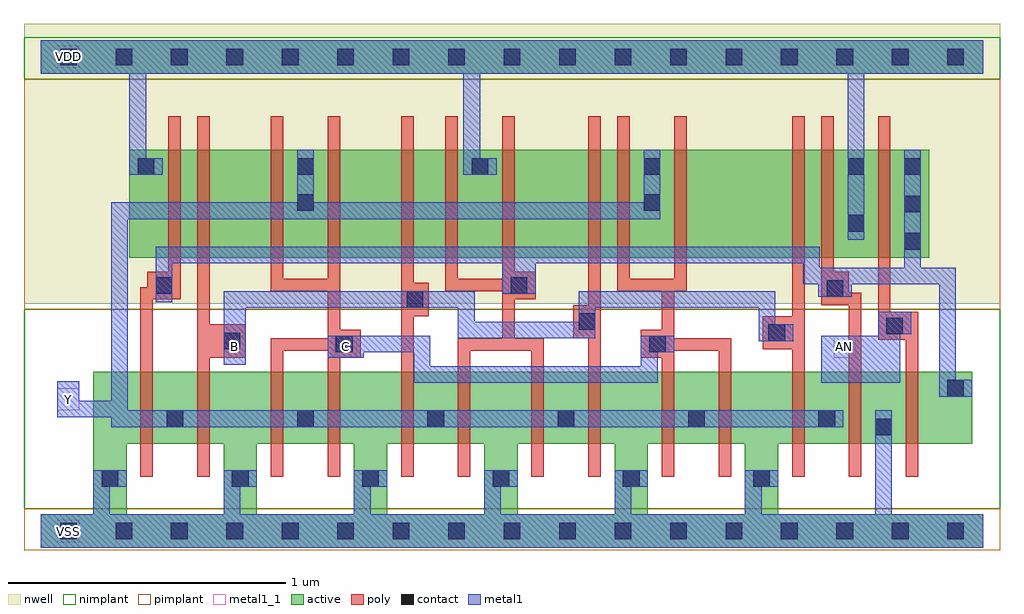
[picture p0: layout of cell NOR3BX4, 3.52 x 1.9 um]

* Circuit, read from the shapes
.subckt NOR3BX4 AN B C VDD VSS Y
M1 Y n1 VSS VSS nfet w=0.26u l=0.045u m=4
M2 VSS B Y VSS nfet w=0.26u l=0.045u m=4
M3 Y C VSS VSS nfet w=0.26u l=0.045u m=4
M4 n1 AN VSS VSS nfet w=0.26u l=0.045u
M5 n2 n1 VDD VDD pfet w=0.39u l=0.045u
M6 n3 B n2 VDD pfet w=0.39u l=0.045u
M7 Y C n3 VDD pfet w=0.39u l=0.045u
M8 n4 C Y VDD pfet w=0.39u l=0.045u
M9 n5 B n4 VDD pfet w=0.39u l=0.045u
M10 VDD n1 n5 VDD pfet w=0.39u l=0.045u
M11 n6 n1 VDD VDD pfet w=0.39u l=0.045u
M12 n7 B n6 VDD pfet w=0.39u l=0.045u
M13 Y C n7 VDD pfet w=0.39u l=0.045u
M14 n8 C Y VDD pfet w=0.39u l=0.045u
M15 n9 B n8 VDD pfet w=0.39u l=0.045u
M16 VDD n1 n9 VDD pfet w=0.39u l=0.045u
M17 n1 AN VDD VDD pfet w=0.39u l=0.045u
.ends

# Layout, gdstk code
import gdstk
lib = gdstk.Library(unit=1e-6, precision=5e-10)
def R(c, l, rs):  # rectangles x0, y0, x1, y1
    for r in rs: c.add(gdstk.rectangle(r[:2], r[2:], *l))
def A(c, l, x, y, w, h, nx, ny, dx, dy):  # array of equal rectangles
    R(c, l, [(x+i*dx, y+j*dy, x+i*dx+w, y+j*dy+h) for i in range(nx) for j in range(ny)])
def P(c, l, *ps):  # polygons
    for p in ps: c.add(gdstk.Polygon(p, *l))
active = (1, 0)
nwell = (2, 0)
poly = (3, 0)
nimplant = (4, 0)
pimplant = (5, 0)
contact = (6, 0)
metal1 = (7, 0)
metal1_1 = (7, 1)

nor3bx4 = lib.new_cell('NOR3BX4')
R(nor3bx4, active, [(0.32,0.985,3.205,1.375), (0,1.65,3.4,1.77)])
P(nor3bx4, active, [(0.19,0.575),(3.36,0.575),(3.36,0.315),(2.66,0.315),(2.66,0.06),(3.4,0.06),(3.4,-0.06),(0,-0.06),(0,0.06),(0.19,0.06),(0.19,0.315),(0.31,0.315),(0.31,0.06),(0.66,0.06),(0.66,0.315),(0.78,0.315),(0.78,0.06),(1.13,0.06),(1.13,0.315),(1.25,0.315),(1.25,0.06),(1.6,0.06),(1.6,0.315),(1.72,0.315),(1.72,0.06),(2.07,0.06),(2.07,0.315),(2.19,0.315),(2.19,0.06),(2.54,0.06),(2.54,0.315),(0.19,0.315)])
R(nor3bx4, nwell, [(-0.06,0.82,3.46,1.83)])
P(nor3bx4, poly, [(0.46,1.495),(0.505,1.495),(0.505,0.835),(0.405,0.835),(0.405,0.195),(0.36,0.195),(0.36,0.88),(0.385,0.88),(0.385,0.935),(0.46,0.935)],
  [(0.565,1.495),(0.61,1.495),(0.61,0.745),(0.74,0.745),(0.74,0.625),(0.61,0.625),(0.61,0.195),(0.565,0.195)],
  [(0.83,1.495),(0.875,1.495),(0.875,0.91),(1.035,0.91),(1.035,1.495),(1.08,1.495),(1.08,0.725),(1.155,0.725),(1.155,0.625),(1.08,0.625),(1.08,0.195),(1.035,0.195),(1.035,0.65),(0.875,0.65),(0.875,0.195),(0.83,0.195),(0.83,0.695),(1.035,0.695),(1.035,0.865),(0.83,0.865)],
  [(1.3,1.495),(1.345,1.495),(1.345,0.895),(1.4,0.895),(1.4,0.775),(1.345,0.775),(1.345,0.195),(1.3,0.195)],
  [(1.46,1.495),(1.505,1.495),(1.505,0.91),(1.665,0.91),(1.665,1.495),(1.71,1.495),(1.71,0.935),(1.785,0.935),(1.785,0.835),(1.71,0.835),(1.71,0.695),(1.815,0.695),(1.815,0.195),(1.77,0.195),(1.77,0.65),(1.55,0.65),(1.55,0.195),(1.505,0.195),(1.505,0.695),(1.665,0.695),(1.665,0.865),(1.46,0.865)],
  [(1.975,1.495),(2.02,1.495),(2.02,0.195),(1.975,0.195),(1.975,0.695),(1.92,0.695),(1.92,0.815),(1.975,0.815)],
  [(2.08,1.495),(2.125,1.495),(2.125,0.91),(2.285,0.91),(2.285,1.495),(2.33,1.495),(2.33,0.865),(2.285,0.865),(2.285,0.695),(2.49,0.695),(2.49,0.195),(2.445,0.195),(2.445,0.65),(2.285,0.65),(2.285,0.195),(2.24,0.195),(2.24,0.625),(2.165,0.625),(2.165,0.725),(2.24,0.725),(2.24,0.865),(2.08,0.865)],
  [(2.71,1.495),(2.755,1.495),(2.755,0.195),(2.71,0.195),(2.71,0.655),(2.605,0.655),(2.605,0.775),(2.71,0.775)],
  [(2.815,1.495),(2.86,1.495),(2.86,0.935),(2.915,0.935),(2.915,0.86),(2.96,0.86),(2.96,0.195),(2.915,0.195),(2.915,0.815),(2.815,0.815)],
  [(3.02,1.495),(3.065,1.495),(3.065,0.79),(3.165,0.79),(3.165,0.195),(3.12,0.195),(3.12,0.69),(3.02,0.69)])
R(nor3bx4, nimplant, [(-0.06,0.08,3.46,0.8), (-0.06,1.63,3.46,1.78)])
R(nor3bx4, pimplant, [(-0.06,-0.07,3.46,0.08), (-0.06,0.8,3.46,1.63)])
A(nor3bx4, contact, 0.07, -0.03, 0.06, 0.06, 17, 2, 0.2, 1.71)
A(nor3bx4, contact, 0.22, 0.16, 0.06, 0.06, 6, 1, 0.47, 0)
A(nor3bx4, contact, 0.455, 0.375, 0.06, 0.06, 6, 1, 0.47, 0)
A(nor3bx4, contact, 3.115, 1.015, 0.06, 0.06, 1, 3, 0, 0.135)
R(nor3bx4, contact, [(3.01,0.345,3.07,0.405), (3.27,0.485,3.33,0.545), (1.065,0.645,1.125,0.705), (2.195,0.645,2.255,0.705), (0.66,0.655,0.72,0.715), (2.625,0.685,2.685,0.745), (3.05,0.71,3.11,0.77), (1.94,0.725,2,0.785), (1.32,0.805,1.38,0.865), (2.835,0.845,2.895,0.905), (0.415,0.855,0.475,0.915), (1.695,0.855,1.755,0.915), (2.91,1.08,2.97,1.14), (0.925,1.155,0.985,1.215), (2.175,1.155,2.235,1.215), (0.35,1.285,0.41,1.345), (0.925,1.285,0.985,1.345), (1.555,1.285,1.615,1.345), (2.175,1.285,2.235,1.345), (2.91,1.285,2.97,1.345)])
P(nor3bx4, metal1, [(0,1.77),(3.4,1.77),(3.4,1.65),(2.97,1.65),(2.97,1.05),(2.91,1.05),(2.91,1.65),(1.585,1.65),(1.585,1.345),(1.645,1.345),(1.645,1.285),(1.525,1.285),(1.525,1.65),(0.38,1.65),(0.38,1.345),(0.44,1.345),(0.44,1.285),(0.32,1.285),(0.32,1.65),(0,1.65)],
  [(0.925,1.375),(0.985,1.375),(0.985,1.185),(2.175,1.185),(2.175,1.375),(2.235,1.375),(2.235,1.125),(0.315,1.125),(0.315,0.435),(2.895,0.435),(2.895,0.375),(0.255,0.375),(0.255,0.41),(0.06,0.41),(0.06,0.54),(0.14,0.54),(0.14,0.47),(0.255,0.47),(0.255,1.185),(0.925,1.185)],
  [(0.415,1.025),(2.81,1.025),(2.81,0.95),(3.115,0.95),(3.115,1.375),(3.175,1.375),(3.175,0.95),(3.3,0.95),(3.3,0.545),(3.36,0.545),(3.36,0.485),(3.24,0.485),(3.24,0.89),(2.925,0.89),(2.925,0.845),(2.805,0.845),(2.805,0.89),(2.75,0.89),(2.75,0.965),(1.785,0.965),(1.785,0.855),(1.665,0.855),(1.665,0.965),(0.475,0.965),(0.475,0.825),(0.415,0.825)],
  [(0.66,0.865),(1.565,0.865),(1.565,0.755),(1.94,0.755),(1.94,0.865),(2.65,0.865),(2.65,0.745),(2.715,0.745),(2.715,0.685),(2.59,0.685),(2.59,0.805),(2,0.805),(2,0.695),(1.505,0.695),(1.505,0.805),(0.74,0.805),(0.74,0.6),(0.66,0.6)],
  [(1.035,0.705),(1.405,0.705),(1.405,0.595),(2.165,0.595),(2.165,0.705),(2.285,0.705),(2.285,0.645),(2.225,0.645),(2.225,0.535),(1.345,0.535),(1.345,0.645),(1.165,0.645),(1.165,0.625),(1.035,0.625)],
  [(3.02,0.79),(3.14,0.79),(3.14,0.71),(3.1,0.71),(3.1,0.535),(2.815,0.535),(2.815,0.705),(3.02,0.705)],
  [(0.19,0.22),(0.31,0.22),(0.31,0.16),(0.25,0.16),(0.25,0.06),(0.66,0.06),(0.66,0.22),(0.78,0.22),(0.78,0.16),(0.72,0.16),(0.72,0.06),(1.13,0.06),(1.13,0.22),(1.25,0.22),(1.25,0.16),(1.19,0.16),(1.19,0.06),(1.6,0.06),(1.6,0.22),(1.72,0.22),(1.72,0.16),(1.66,0.16),(1.66,0.06),(2.07,0.06),(2.07,0.22),(2.19,0.22),(2.19,0.16),(2.13,0.16),(2.13,0.06),(2.54,0.06),(2.54,0.22),(2.66,0.22),(2.66,0.16),(2.6,0.16),(2.6,0.06),(3.01,0.06),(3.01,0.435),(3.07,0.435),(3.07,0.06),(3.4,0.06),(3.4,-0.06),(0,-0.06),(0,0.06),(0.19,0.06)])
R(nor3bx4, metal1_1, [(0.06,-0.04,0.14,0.04), (0.06,0.435,0.14,0.515), (0.66,0.625,0.74,0.705), (1.06,0.625,1.14,0.705), (2.86,0.625,2.94,0.705), (0.06,1.67,0.14,1.75)])
nor3bx4.add(gdstk.Label('Y', (0.1,0.475), layer=7, texttype=1))
nor3bx4.add(gdstk.Label('B', (0.7,0.665), layer=7, texttype=1))
nor3bx4.add(gdstk.Label('AN', (2.9,0.665), layer=7, texttype=1))
nor3bx4.add(gdstk.Label('C', (1.1,0.665), layer=7, texttype=1))
nor3bx4.add(gdstk.Label('VDD', (0.1,1.71), layer=7, texttype=1))
nor3bx4.add(gdstk.Label('VSS', (0.1,0), layer=7, texttype=1))
nor3bx4.add(gdstk.Label('NOR3BX4', (0,0), layer=63, texttype=0))

lib.write_gds('NOR3BX4.gds')
